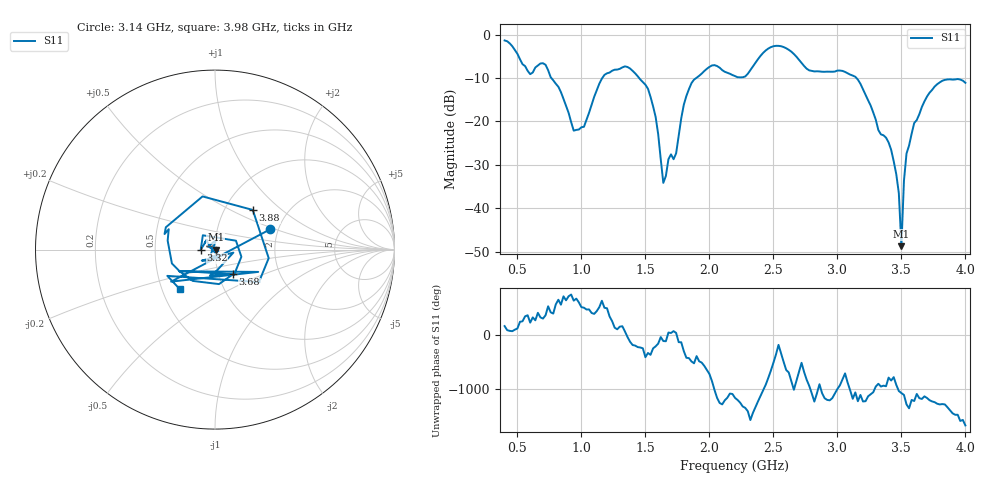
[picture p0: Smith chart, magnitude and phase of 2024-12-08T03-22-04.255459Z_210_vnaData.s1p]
!Created with skrf (http://scikit-rf.org).
# Hz S RI R 50.0
!freq ReS11 ImS11
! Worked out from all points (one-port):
!   181 points, 400 MHz to 4 GHz, reference 50 ohm
!   lowest |S11| = -48.7 dB at 3.5 GHz (marker M1), VSWR 1.01, Z = 50.4 + j0.0492 ohm
!   |S11| at or under -10 dB: 764.8 MHz to 1.163 GHz (398.4 MHz wide, 41.3 % of centre); 1.451 GHz to 1.898 GHz (446.7 MHz wide, 26.7 % of centre); 3.149 GHz to end of sweep
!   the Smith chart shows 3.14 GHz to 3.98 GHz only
!   S11 on the Smith chart (normalised r, x): 3.14 GHz: 1.81, +0.46; 3.32 GHz: 0.85, -0.00; 3.68 GHz: 1.18, -0.33; 3.88 GHz: 1.35, +0.66; 3.98 GHz: 0.62, -0.30
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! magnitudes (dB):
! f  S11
! 400 MHz  -1.4
! 600 MHz  -9.1
! 720 MHz  -7.0
! 860 MHz  -14.8
! 980 MHz  -21.9
! 1.16 GHz  -10.1
! 1.3 GHz  -7.9
! 1.52 GHz  -12.5
! 1.58 GHz  -19.0
! 1.64 GHz  -34.1
! 1.76 GHz  -23.3
! 1.88 GHz  -10.4
! 2.04 GHz  -7.0
! 2.2 GHz  -9.6
! 2.48 GHz  -2.9
! 2.66 GHz  -4.5
! 3.1 GHz  -9.2
! 3.14 GHz  -9.7
! 3.32 GHz  -22.0
! 3.44 GHz  -29.2
! 3.48 GHz  -36.5
! 3.5 GHz  -48.7
! 3.52 GHz  -33.6
! 3.56 GHz  -25.5
! 3.68 GHz  -15.4
! 3.88 GHz  -10.3
! 3.98 GHz  -10.6
! 4 GHz  -11.1
